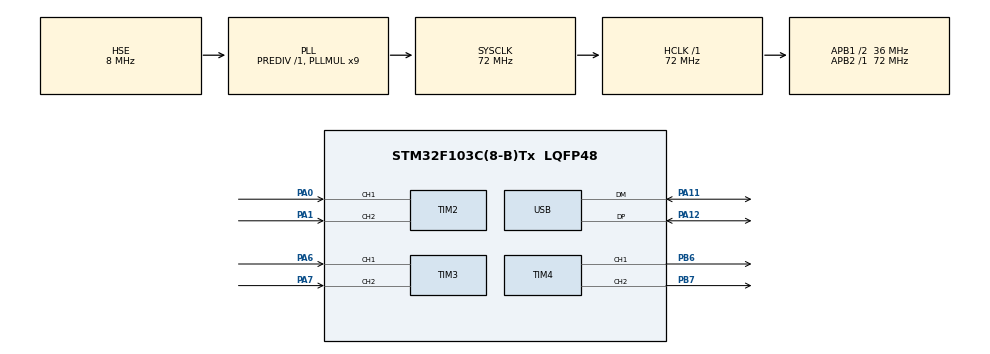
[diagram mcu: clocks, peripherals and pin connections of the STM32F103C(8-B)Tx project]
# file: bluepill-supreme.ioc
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Mcu.Family=STM32F1
Mcu.Name=STM32F103C(8-B)Tx
Mcu.Package=LQFP48
NVIC.PriorityGroup=NVIC_PRIORITYGROUP_4
NVIC.TIM2_IRQn=true\:0\:0\:false\:false\:true\:true\:true\:true
NVIC.TIM3_IRQn=true\:0\:0\:false\:false\:true\:true\:true\:true
NVIC.USB_LP_CAN1_RX0_IRQn=true\:0\:0\:false\:false\:true\:false\:true\:true
PA0-WKUP.Signal=S_TIM2_CH1_ETR
PA1.Signal=S_TIM2_CH2
PA11.Mode=Device
PA11.Signal=USB_DM
PA12.Mode=Device
PA12.Signal=USB_DP
PA13.Mode=Trace_Asynchronous_SW
PA13.Signal=SYS_JTMS-SWDIO
PA14.Mode=Trace_Asynchronous_SW
PA14.Signal=SYS_JTCK-SWCLK
PA6.Signal=S_TIM3_CH1
PA7.Signal=S_TIM3_CH2
PB3.Mode=Trace_Asynchronous_SW
PB3.Signal=SYS_JTDO-TRACESWO
PB6.Signal=S_TIM4_CH1
PB7.Signal=S_TIM4_CH2
PD0-OSC_IN.Mode=HSE-External-Oscillator
PD0-OSC_IN.Signal=RCC_OSC_IN
PD1-OSC_OUT.Mode=HSE-External-Oscillator
PD1-OSC_OUT.Signal=RCC_OSC_OUT
ProjectManager.HeapSize=0x200
ProjectManager.StackSize=0x400
ProjectManager.TargetToolchain=STM32CubeIDE
RCC.AHBFreq_Value=72000000
RCC.APB1CLKDivider=RCC_HCLK_DIV2
RCC.APB1Freq_Value=36000000
RCC.APB1TimFreq_Value=72000000
RCC.APB2Freq_Value=72000000
RCC.APB2TimFreq_Value=72000000
RCC.HCLKFreq_Value=72000000
RCC.PLLMUL=RCC_PLL_MUL9
RCC.PLLSourceVirtual=RCC_PLLSOURCE_HSE
RCC.SYSCLKFreq_VALUE=72000000
RCC.SYSCLKSource=RCC_SYSCLKSOURCE_PLLCLK
RCC.USBFreq_Value=48000000
RCC.USBPrescaler=RCC_USBCLKSOURCE_PLL_DIV1_5
SH.S_TIM2_CH1_ETR.0=TIM2_CH1,Encoder_Interface
SH.S_TIM2_CH2.0=TIM2_CH2,Encoder_Interface
SH.S_TIM3_CH1.0=TIM3_CH1,Encoder_Interface
SH.S_TIM3_CH2.0=TIM3_CH2,Encoder_Interface
SH.S_TIM4_CH1.0=TIM4_CH1,PWM Generation1 CH1
SH.S_TIM4_CH2.0=TIM4_CH2,PWM Generation2 CH2
TIM4.Channel-PWM\ Generation1\ CH1=TIM_CHANNEL_1
TIM4.Channel-PWM\ Generation2\ CH2=TIM_CHANNEL_2
USB_DEVICE.CLASS_NAME_FS=CDC
USB_DEVICE.VirtualMode=Cdc
USB_DEVICE.VirtualModeFS=Cdc_FS
VP_USB_DEVICE_VS_USB_DEVICE_CDC_FS.Mode=CDC_FS
board=custom

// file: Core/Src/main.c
/* USER CODE BEGIN Header */
/**
  ******************************************************************************
  * @file           : main.c
  * @brief          : Main program body
  ******************************************************************************
  * @attention
  *
  * Copyright (c) 2023 STMicroelectronics.
  * All rights reserved.
  *
  * This software is licensed under terms that can be found in the LICENSE file
  * in the root directory of this software component.
  * If no LICENSE file comes with this software, it is provided AS-IS.
  *
  ******************************************************************************
  */
/* USER CODE END Header */
#include "main.h"
#include "usb_device.h"

/* USER CODE BEGIN Includes */
#include "pid.h"
#include "mdds30.h"
#include "DC_MOTOR_cfg.h"
#include "usbd_cdc_if.h"

/* USER CODE END Includes */

TIM_HandleTypeDef htim2;
TIM_HandleTypeDef htim3;
TIM_HandleTypeDef htim4;

void SystemClock_Config(void);
static void MX_GPIO_Init(void);
static void MX_TIM2_Init(void);
static void MX_TIM3_Init(void);
static void MX_TIM4_Init(void);

/* USER CODE BEGIN 0 */

char sen_buff[8];
char rec_buff[100];

float LPF_beta = 0.025;
int sample_time = 20;

int speed_const =1550;

// -- ignore on release
int linear_x_rec = 0;
int angular_z_rec = 0;

float linear_x = 0;
float angular_z = 0;

// Left Motor

PID_TypeDef left_SPID;
int left_Kp = 2000;
int left_Ki = 0;
int left_Kd = 0;

double left_SpeedCurrent, left_PIDOut, left_SpeedSetpoint, left_pwm;

int16_t left_pulses = 0;
int8_t left_ppms = 0;

float left_sppms = 0;

int GetSpeedLeft(){ return left_sppms; }

// Right Motor

PID_TypeDef right_SPID;
int right_Kp = 2000;
int right_Ki = 0;
int right_Kd = 0;

double right_SpeedCurrent, right_PIDOut, right_SpeedSetpoint, right_pwm;

int16_t right_pulses = 0;
int8_t right_ppms = 0;

float right_sppms = 0;

int GetSpeedRight(){ return right_sppms; }

// Encoder Callback

void HAL_TIM_IC_CaptureCallback(TIM_HandleTypeDef *htim)
{
	left_pulses = (int16_t)__HAL_TIM_GET_COUNTER(&htim2)/4;
	right_pulses = -(int16_t)__HAL_TIM_GET_COUNTER(&htim3)/4;

}

// Wheel Velocity
void setWheelVelocity(float lnr_x, float ang_z, float r, double *left_vel, double *right_vel){

	// r is in m

	*left_vel = (lnr_x - (r*ang_z)) * ( 1196 * sample_time / (1000 * 2 * 3.14 * r) );
	*right_vel = (lnr_x + (r*ang_z)) * ( 1196 * sample_time / (1000 * 2 * 3.14 * r) );

}

/* USER CODE END 0 */

int main(void)
{

  /* MCU Configuration--------------------------------------------------------*/

  /* Reset of all peripherals, Initializes the Flash interface and the Systick. */
  HAL_Init();

  /* Configure the system clock */
  SystemClock_Config();

  /* Initialize all configured peripherals */
  MX_GPIO_Init();
  MX_TIM2_Init();
  MX_TIM3_Init();
  MX_TIM4_Init();

  MX_USB_DEVICE_Init();
  /* USER CODE BEGIN 2 */

  // Left Motor

  DC_MOTOR_Init(DC_MOTOR_CfgParam[0]);

  HAL_TIM_Encoder_Start_IT(&htim2, TIM_CHANNEL_ALL);

  PID(&left_SPID, &left_SpeedCurrent, &left_PIDOut, &left_SpeedSetpoint, left_Kp, left_Ki, left_Kd, _PID_P_ON_E, _PID_CD_DIRECT);
  PID_SetMode(&left_SPID, _PID_MODE_AUTOMATIC);
  PID_SetSampleTime(&left_SPID, sample_time);
  PID_SetOutputLimits(&left_SPID, -65534, 65534);

  // Right Motor

  DC_MOTOR_Init(DC_MOTOR_CfgParam[1]);

  HAL_TIM_Encoder_Start_IT(&htim3, TIM_CHANNEL_ALL);

  PID(&right_SPID, &right_SpeedCurrent, &right_PIDOut, &right_SpeedSetpoint, right_Kp, right_Ki, right_Kd, _PID_P_ON_E, _PID_CD_DIRECT);
  PID_SetMode(&right_SPID, _PID_MODE_AUTOMATIC);
  PID_SetSampleTime(&right_SPID, sample_time);
  PID_SetOutputLimits(&right_SPID, -65534, 65534);

  //USB Init

  vcp_init();

  /* USER CODE END 2 */

  /* Infinite loop */
  while (1)
  {

    /* USER CODE BEGIN 3 */
	  //Converting from into to float

	  linear_x = (float) linear_x_rec/100;
	  angular_z = (float) angular_z_rec/100;

	  // Low Pass Filter

	  left_sppms = left_sppms - (LPF_beta *(left_sppms-left_ppms));
	  right_sppms = right_sppms - (LPF_beta *(right_sppms-right_ppms));

	  // Get Wheel Velocities

	  setWheelVelocity(linear_x, angular_z, 0.165, &left_SpeedSetpoint, &right_SpeedSetpoint);

	  // PID

	  left_SpeedCurrent = GetSpeedLeft();
	  right_SpeedCurrent = GetSpeedRight();

	  PID_Compute(&left_SPID);
	  PID_Compute(&right_SPID);

	  // calculate speed

	  left_pwm = speed_const*left_SpeedSetpoint + left_PIDOut;
	  right_pwm = speed_const*right_SpeedSetpoint + right_PIDOut;

	  // Motors

	  DC_MOTOR_Start( DC_MOTOR_CfgParam[1],
			  	  	  left_pwm < 0 ? DIR_ACW : DIR_CW,
	  				  left_pwm < 0 ? -left_pwm : left_pwm);

	  DC_MOTOR_Start( DC_MOTOR_CfgParam[0],
	  		  	  	  right_pwm < 0 ? DIR_ACW : DIR_CW,
	  				  right_pwm < 0 ? -right_pwm : right_pwm);

	  // generate odometry buffer

	  sscanf(rec_buff,"%d,%d\n",&linear_x_rec,&angular_z_rec);
	  vcp_recv((uint8_t *)&rec_buff,sizeof(rec_buff));

	  sprintf(sen_buff,"%d,%d\n",left_ppms,right_ppms);
	  vcp_send((uint8_t *)&sen_buff,sizeof(sen_buff));

  }
  /* USER CODE END 3 */
}

void SystemClock_Config(void)
{
  RCC_OscInitTypeDef RCC_OscInitStruct = {0};
  RCC_ClkInitTypeDef RCC_ClkInitStruct = {0};
  RCC_PeriphCLKInitTypeDef PeriphClkInit = {0};

  /** Initializes the RCC Oscillators according to the specified parameters
  * in the RCC_OscInitTypeDef structure.
  */
  RCC_OscInitStruct.OscillatorType = RCC_OSCILLATORTYPE_HSE;
  RCC_OscInitStruct.HSEState = RCC_HSE_ON;
  RCC_OscInitStruct.HSEPredivValue = RCC_HSE_PREDIV_DIV1;
  RCC_OscInitStruct.HSIState = RCC_HSI_ON;
  RCC_OscInitStruct.PLL.PLLState = RCC_PLL_ON;
  RCC_OscInitStruct.PLL.PLLSource = RCC_PLLSOURCE_HSE;
  RCC_OscInitStruct.PLL.PLLMUL = RCC_PLL_MUL9;
  if (HAL_RCC_OscConfig(&RCC_OscInitStruct) != HAL_OK)
  {
    Error_Handler();
  }

  /** Initializes the CPU, AHB and APB buses clocks
  */
  RCC_ClkInitStruct.ClockType = RCC_CLOCKTYPE_HCLK|RCC_CLOCKTYPE_SYSCLK
                              |RCC_CLOCKTYPE_PCLK1|RCC_CLOCKTYPE_PCLK2;
  RCC_ClkInitStruct.SYSCLKSource = RCC_SYSCLKSOURCE_PLLCLK;
  RCC_ClkInitStruct.AHBCLKDivider = RCC_SYSCLK_DIV1;
  RCC_ClkInitStruct.APB1CLKDivider = RCC_HCLK_DIV2;
  RCC_ClkInitStruct.APB2CLKDivider = RCC_HCLK_DIV1;

  if (HAL_RCC_ClockConfig(&RCC_ClkInitStruct, FLASH_LATENCY_2) != HAL_OK)
  {
    Error_Handler();
  }
  PeriphClkInit.PeriphClockSelection = RCC_PERIPHCLK_USB;
  PeriphClkInit.UsbClockSelection = RCC_USBCLKSOURCE_PLL_DIV1_5;
  if (HAL_RCCEx_PeriphCLKConfig(&PeriphClkInit) != HAL_OK)
  {
    Error_Handler();
  }
}

static void MX_TIM2_Init(void)
{

  TIM_Encoder_InitTypeDef sConfig = {0};
  TIM_MasterConfigTypeDef sMasterConfig = {0};

  htim2.Instance = TIM2;
  htim2.Init.Prescaler = 0;
  htim2.Init.CounterMode = TIM_COUNTERMODE_UP;
  htim2.Init.Period = 65535;
  htim2.Init.ClockDivision = TIM_CLOCKDIVISION_DIV1;
  htim2.Init.AutoReloadPreload = TIM_AUTORELOAD_PRELOAD_DISABLE;
  sConfig.EncoderMode = TIM_ENCODERMODE_TI1;
  sConfig.IC1Polarity = TIM_ICPOLARITY_RISING;
  sConfig.IC1Selection = TIM_ICSELECTION_DIRECTTI;
  sConfig.IC1Prescaler = TIM_ICPSC_DIV1;
  sConfig.IC1Filter = 0;
  sConfig.IC2Polarity = TIM_ICPOLARITY_RISING;
  sConfig.IC2Selection = TIM_ICSELECTION_DIRECTTI;
  sConfig.IC2Prescaler = TIM_ICPSC_DIV1;
  sConfig.IC2Filter = 0;
  if (HAL_TIM_Encoder_Init(&htim2, &sConfig) != HAL_OK)
  {
    Error_Handler();
  }
  sMasterConfig.MasterOutputTrigger = TIM_TRGO_RESET;
  sMasterConfig.MasterSlaveMode = TIM_MASTERSLAVEMODE_DISABLE;
  if (HAL_TIMEx_MasterConfigSynchronization(&htim2, &sMasterConfig) != HAL_OK)
  {
    Error_Handler();
  }

}

static void MX_TIM3_Init(void)
{

  TIM_Encoder_InitTypeDef sConfig = {0};
  TIM_MasterConfigTypeDef sMasterConfig = {0};

  htim3.Instance = TIM3;
  htim3.Init.Prescaler = 0;
  htim3.Init.CounterMode = TIM_COUNTERMODE_UP;
  htim3.Init.Period = 65535;
  htim3.Init.ClockDivision = TIM_CLOCKDIVISION_DIV1;
  htim3.Init.AutoReloadPreload = TIM_AUTORELOAD_PRELOAD_DISABLE;
  sConfig.EncoderMode = TIM_ENCODERMODE_TI1;
  sConfig.IC1Polarity = TIM_ICPOLARITY_RISING;
  sConfig.IC1Selection = TIM_ICSELECTION_DIRECTTI;
  sConfig.IC1Prescaler = TIM_ICPSC_DIV1;
  sConfig.IC1Filter = 0;
  sConfig.IC2Polarity = TIM_ICPOLARITY_RISING;
  sConfig.IC2Selection = TIM_ICSELECTION_DIRECTTI;
  sConfig.IC2Prescaler = TIM_ICPSC_DIV1;
  sConfig.IC2Filter = 0;
  if (HAL_TIM_Encoder_Init(&htim3, &sConfig) != HAL_OK)
  {
    Error_Handler();
  }
  sMasterConfig.MasterOutputTrigger = TIM_TRGO_RESET;
  sMasterConfig.MasterSlaveMode = TIM_MASTERSLAVEMODE_DISABLE;
  if (HAL_TIMEx_MasterConfigSynchronization(&htim3, &sMasterConfig) != HAL_OK)
  {
    Error_Handler();
  }

}

static void MX_TIM4_Init(void)
{

  TIM_MasterConfigTypeDef sMasterConfig = {0};
  TIM_OC_InitTypeDef sConfigOC = {0};

  htim4.Instance = TIM4;
  htim4.Init.Prescaler = 0;
  htim4.Init.CounterMode = TIM_COUNTERMODE_UP;
  htim4.Init.Period = 65535;
  htim4.Init.ClockDivision = TIM_CLOCKDIVISION_DIV1;
  htim4.Init.AutoReloadPreload = TIM_AUTORELOAD_PRELOAD_DISABLE;
  if (HAL_TIM_PWM_Init(&htim4) != HAL_OK)
  {
    Error_Handler();
  }
  sMasterConfig.MasterOutputTrigger = TIM_TRGO_RESET;
  sMasterConfig.MasterSlaveMode = TIM_MASTERSLAVEMODE_DISABLE;
  if (HAL_TIMEx_MasterConfigSynchronization(&htim4, &sMasterConfig) != HAL_OK)
  {
    Error_Handler();
  }
  sConfigOC.OCMode = TIM_OCMODE_PWM1;
  sConfigOC.Pulse = 0;
  sConfigOC.OCPolarity = TIM_OCPOLARITY_HIGH;
  sConfigOC.OCFastMode = TIM_OCFAST_DISABLE;
  if (HAL_TIM_PWM_ConfigChannel(&htim4, &sConfigOC, TIM_CHANNEL_1) != HAL_OK)
  {
    Error_Handler();
  }
  if (HAL_TIM_PWM_ConfigChannel(&htim4, &sConfigOC, TIM_CHANNEL_2) != HAL_OK)
  {
    Error_Handler();
  }
  HAL_TIM_MspPostInit(&htim4);

}

static void MX_GPIO_Init(void)
{

  /* GPIO Ports Clock Enable */
  __HAL_RCC_GPIOD_CLK_ENABLE();
  __HAL_RCC_GPIOA_CLK_ENABLE();
  __HAL_RCC_GPIOB_CLK_ENABLE();

}

void Error_Handler(void)
{
  __disable_irq();
  while (1)
  {
  }
}
